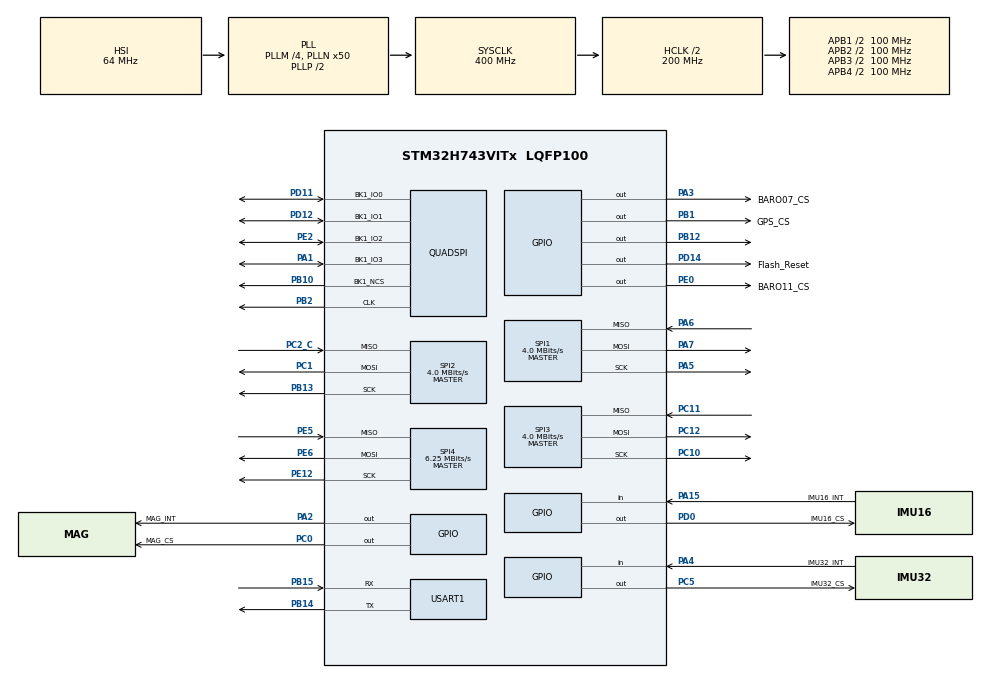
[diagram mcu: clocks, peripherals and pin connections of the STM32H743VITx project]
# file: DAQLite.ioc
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CORTEX_M7.CPU_ICache=Enabled
FREERTOS.Tasks01=defaultTask,0,192,StartDefaultTask,Default,NULL,Dynamic,NULL,NULL
FREERTOS.configMINIMAL_STACK_SIZE=192
FREERTOS.configTOTAL_HEAP_SIZE=340000
FREERTOS.configUSE_NEWLIB_REENTRANT=1
FREERTOS.configUSE_TIMERS=1
Mcu.Family=STM32H7
Mcu.Name=STM32H743VITx
Mcu.Package=LQFP100
NVIC.PriorityGroup=NVIC_PRIORITYGROUP_4
NVIC.TIM2_IRQn=true\:15\:0\:false\:false\:true\:false\:false\:true\:true
NVIC.TimeBase=TIM2_IRQn
NVIC.TimeBaseIP=TIM2
PA1.Mode=Single Bank 1
PA1.Signal=QUADSPI_BK1_IO3
PA11.Signal=USB_OTG_FS_DM
PA12.Signal=USB_OTG_FS_DP
PA13\ (JTMS/SWDIO).Mode=Trace_Asynchronous_SW
PA13\ (JTMS/SWDIO).Signal=DEBUG_JTMS-SWDIO
PA14\ (JTCK/SWCLK).Mode=Trace_Asynchronous_SW
PA14\ (JTCK/SWCLK).Signal=DEBUG_JTCK-SWCLK
PA15\ (JTDI).GPIO_Label=IMU16_INT
PA15\ (JTDI).Signal=GPIO_Input
PA2.GPIO_Label=MAG_INT
PA2.Signal=GPIO_Output
PA3.GPIO_Label=BARO07_CS
PA3.Signal=GPIO_Output
PA4.GPIO_Label=IMU32_INT
PA4.Signal=GPIO_Input
PA5.Mode=Full_Duplex_Master
PA5.Signal=SPI1_SCK
PA6.Mode=Full_Duplex_Master
PA6.Signal=SPI1_MISO
PA7.Mode=Full_Duplex_Master
PA7.Signal=SPI1_MOSI
PB1.GPIO_Label=GPS_CS
PB1.Signal=GPIO_Output
PB10.Mode=Single Bank 1
PB10.Signal=QUADSPI_BK1_NCS
PB12.Signal=GPIO_Output
PB13.Mode=Full_Duplex_Master
PB13.Signal=SPI2_SCK
PB14.Mode=Asynchronous
PB14.Signal=USART1_TX
PB15.Mode=Asynchronous
PB15.Signal=USART1_RX
PB2.Mode=Single Bank 1
PB2.Signal=QUADSPI_CLK
PB3\ (JTDO/TRACESWO).Mode=Trace_Asynchronous_SW
PB3\ (JTDO/TRACESWO).Signal=DEBUG_JTDO-SWO
PC0.GPIO_Label=MAG_CS
PC0.PinAttribute=Free
PC0.Signal=GPIO_Output
PC1.Mode=Full_Duplex_Master
PC1.PinAttribute=Free
PC1.Signal=SPI2_MOSI
PC10.Mode=Full_Duplex_Master
PC10.Signal=SPI3_SCK
PC11.Mode=Full_Duplex_Master
PC11.Signal=SPI3_MISO
PC12.Mode=Full_Duplex_Master
PC12.Signal=SPI3_MOSI
PC2_C.Mode=Full_Duplex_Master
PC2_C.Signal=SPI2_MISO
PC5.GPIO_Label=IMU32_CS
PC5.Signal=GPIO_Output
PC9.Signal=S_TIM3_CH4
PD0.GPIO_Label=IMU16_CS
PD0.Signal=GPIO_Output
PD11.Mode=Single Bank 1
PD11.Signal=QUADSPI_BK1_IO0
PD12.Mode=Single Bank 1
PD12.Signal=QUADSPI_BK1_IO1
PD14.GPIO_Label=Flash_Reset
PD14.PinState=GPIO_PIN_SET
PD14.Signal=GPIO_Output
PE0.GPIO_Label=BARO11_CS
PE0.Signal=GPIO_Output
PE12.Mode=Full_Duplex_Master
PE12.Signal=SPI4_SCK
PE14.Signal=S_TIM1_CH4
PE2.Mode=Single Bank 1
PE2.Signal=QUADSPI_BK1_IO2
PE5.Mode=Full_Duplex_Master
PE5.Signal=SPI4_MISO
PE6.Mode=Full_Duplex_Master
PE6.Signal=SPI4_MOSI
PH0-OSC_IN\ (PH0).Mode=HSE-External-Oscillator
PH0-OSC_IN\ (PH0).Signal=RCC_OSC_IN
PH1-OSC_OUT\ (PH1).Mode=HSE-External-Oscillator
PH1-OSC_OUT\ (PH1).PinAttribute=Free
PH1-OSC_OUT\ (PH1).Signal=RCC_OSC_OUT
ProjectManager.HeapSize=0x200
ProjectManager.StackSize=0x400
ProjectManager.TargetToolchain=STM32CubeIDE
QUADSPI.ChipSelectHighTime=QSPI_CS_HIGH_TIME_2_CYCLE
QUADSPI.ClockPrescaler=3
QUADSPI.FlashSize=25
QUADSPI.SampleShifting=QSPI_SAMPLE_SHIFTING_HALFCYCLE
RCC.ADCFreq_Value=129000000
RCC.APB1Freq_Value=100000000
RCC.APB2Freq_Value=100000000
RCC.APB3Freq_Value=100000000
RCC.APB4Freq_Value=100000000
RCC.CortexFreq_Value=400000000
RCC.D1PPRE=RCC_APB3_DIV2
RCC.D2PPRE1=RCC_APB1_DIV2
RCC.D2PPRE2=RCC_APB2_DIV2
RCC.D3PPRE=RCC_APB4_DIV2
RCC.DIVM1=4
RCC.DIVN1=50
RCC.DIVQ1=3
RCC.HCLKFreq_Value=200000000
RCC.HPRE=RCC_HCLK_DIV2
RCC.HSE_VALUE=32000000
RCC.PLL2FRACN=0
RCC.PLL3FRACN=0
RCC.PLLFRACN=0
RCC.QSPICLockSelection=RCC_QSPICLKSOURCE_CLKP
RCC.SPI123CLockSelection=RCC_SPI123CLKSOURCE_CLKP
RCC.SYSCLKFreq_VALUE=400000000
RCC.SYSCLKSource=RCC_SYSCLKSOURCE_PLLCLK
RCC.USBCLockSelection=RCC_USBCLKSOURCE_HSI48
RCC.USBFreq_Value=48000000
SH.S_TIM1_CH4.0=TIM1_CH4
SH.S_TIM3_CH4.0=TIM3_CH4
SPI1.BaudRatePrescaler=SPI_BAUDRATEPRESCALER_16
SPI1.CalculateBaudRate=4.0 MBits/s
SPI1.DataSize=SPI_DATASIZE_8BIT
SPI1.Direction=SPI_DIRECTION_2LINES
SPI1.Mode=SPI_MODE_MASTER
SPI1.VirtualType=VM_MASTER
SPI2.BaudRatePrescaler=SPI_BAUDRATEPRESCALER_16
SPI2.CalculateBaudRate=4.0 MBits/s
SPI2.DataSize=SPI_DATASIZE_8BIT
SPI2.Direction=SPI_DIRECTION_2LINES
SPI2.Mode=SPI_MODE_MASTER
SPI2.VirtualType=VM_MASTER
SPI3.BaudRatePrescaler=SPI_BAUDRATEPRESCALER_16
SPI3.CLKPhase=SPI_PHASE_1EDGE
SPI3.CLKPolarity=SPI_POLARITY_LOW
SPI3.CalculateBaudRate=4.0 MBits/s
SPI3.DataSize=SPI_DATASIZE_8BIT
SPI3.Direction=SPI_DIRECTION_2LINES
SPI3.Mode=SPI_MODE_MASTER
SPI3.NSSPMode=SPI_NSS_PULSE_ENABLE
SPI3.VirtualType=VM_MASTER
SPI4.BaudRatePrescaler=SPI_BAUDRATEPRESCALER_16
SPI4.CLKPhase=SPI_PHASE_1EDGE
SPI4.CLKPolarity=SPI_POLARITY_LOW
SPI4.CalculateBaudRate=6.25 MBits/s
SPI4.DataSize=SPI_DATASIZE_8BIT
SPI4.Direction=SPI_DIRECTION_2LINES
SPI4.Mode=SPI_MODE_MASTER
SPI4.VirtualType=VM_MASTER
USART1.VirtualMode-Asynchronous=VM_ASYNC
VP_CRC_VS_CRC.Mode=CRC_Activate
VP_FATFS_VS_Generic.Mode=User_defined
VP_FREERTOS_VS_CMSIS_V1.Mode=CMSIS_V1
VP_MEMORYMAP_VS_MEMORYMAP.Mode=CurAppReg
VP_SYS_VS_tim2.Mode=TIM2
VP_TIM3_VS_ClockSourceINT.Mode=Internal
board=custom

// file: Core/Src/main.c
/* USER CODE BEGIN Header */
/**
  ******************************************************************************
  * @file           : main.c
  * @brief          : Main program body
  ******************************************************************************
  * @attention
  *
  * Copyright (c) 2025 STMicroelectronics.
  * All rights reserved.
  *
  * This software is licensed under terms that can be found in the LICENSE file
  * in the root directory of this software component.
  * If no LICENSE file comes with this software, it is provided AS-IS.
  *
  ******************************************************************************
  */
/* USER CODE END Header */
#include "main.h"
#include "cmsis_os.h"
#include "fatfs.h"

/* USER CODE BEGIN Includes */
#include "RunInterface.hpp"
/* USER CODE END Includes */

CRC_HandleTypeDef hcrc;

QSPI_HandleTypeDef hqspi;

SPI_HandleTypeDef hspi1;
SPI_HandleTypeDef hspi2;
SPI_HandleTypeDef hspi3;
SPI_HandleTypeDef hspi4;

TIM_HandleTypeDef htim3;

UART_HandleTypeDef huart1;

osThreadId defaultTaskHandle;

void SystemClock_Config(void);
void PeriphCommonClock_Config(void);
static void MX_GPIO_Init(void);
static void MX_CRC_Init(void);
static void MX_SPI1_Init(void);
static void MX_SPI2_Init(void);
static void MX_SPI3_Init(void);
static void MX_SPI4_Init(void);
static void MX_QUADSPI_Init(void);
static void MX_USART1_UART_Init(void);
static void MX_TIM3_Init(void);
void StartDefaultTask(void const * argument);

int main(void)
{

  /* USER CODE BEGIN 1 */
	SCB-> VTOR = FLASH_BASE;
  /* USER CODE END 1 */

  /* Enable the CPU Cache */

  /* Enable I-Cache---------------------------------------------------------*/
  SCB_EnableICache();

  /* MCU Configuration--------------------------------------------------------*/

  /* Reset of all peripherals, Initializes the Flash interface and the Systick. */
  HAL_Init();

  /* Configure the system clock */
  SystemClock_Config();

  /* Configure the peripherals common clocks */
  PeriphCommonClock_Config();

  /* Initialize all configured peripherals */
  MX_GPIO_Init();
  MX_CRC_Init();
  MX_SPI1_Init();
  MX_SPI2_Init();
  MX_SPI3_Init();
  MX_SPI4_Init();
  MX_QUADSPI_Init();
  MX_FATFS_Init();
  MX_USART1_UART_Init();
  MX_TIM3_Init();
  /* USER CODE BEGIN 2 */
  __enable_irq();

  run_interface();
  #if 0
  /* USER CODE END 2 */

  /* Create the thread(s) */
  /* definition and creation of defaultTask */
  osThreadDef(defaultTask, StartDefaultTask, osPriorityNormal, 0, 192);
  defaultTaskHandle = osThreadCreate(osThread(defaultTask), NULL);

  /* Start scheduler */
  osKernelStart();

  /* We should never get here as control is now taken by the scheduler */

  /* Infinite loop */
  while (1)
  {

    /* USER CODE BEGIN 3 */
  }
  #endif
  /* USER CODE END 3 */
}

void SystemClock_Config(void)
{
  RCC_OscInitTypeDef RCC_OscInitStruct = {0};
  RCC_ClkInitTypeDef RCC_ClkInitStruct = {0};

  /** Supply configuration update enable
  */
  HAL_PWREx_ConfigSupply(PWR_LDO_SUPPLY);

  /** Configure the main internal regulator output voltage
  */
  __HAL_PWR_VOLTAGESCALING_CONFIG(PWR_REGULATOR_VOLTAGE_SCALE1);

  while(!__HAL_PWR_GET_FLAG(PWR_FLAG_VOSRDY)) {}

  /** Initializes the RCC Oscillators according to the specified parameters
  * in the RCC_OscInitTypeDef structure.
  */
  RCC_OscInitStruct.OscillatorType = RCC_OSCILLATORTYPE_HSI;
  RCC_OscInitStruct.HSIState = RCC_HSI_DIV1;
  RCC_OscInitStruct.HSICalibrationValue = RCC_HSICALIBRATION_DEFAULT;
  RCC_OscInitStruct.PLL.PLLState = RCC_PLL_ON;
  RCC_OscInitStruct.PLL.PLLSource = RCC_PLLSOURCE_HSI;
  RCC_OscInitStruct.PLL.PLLM = 4;
  RCC_OscInitStruct.PLL.PLLN = 50;
  RCC_OscInitStruct.PLL.PLLP = 2;
  RCC_OscInitStruct.PLL.PLLQ = 3;
  RCC_OscInitStruct.PLL.PLLR = 2;
  RCC_OscInitStruct.PLL.PLLRGE = RCC_PLL1VCIRANGE_3;
  RCC_OscInitStruct.PLL.PLLVCOSEL = RCC_PLL1VCOWIDE;
  RCC_OscInitStruct.PLL.PLLFRACN = 0;
  if (HAL_RCC_OscConfig(&RCC_OscInitStruct) != HAL_OK)
  {
    Error_Handler();
  }

  /** Initializes the CPU, AHB and APB buses clocks
  */
  RCC_ClkInitStruct.ClockType = RCC_CLOCKTYPE_HCLK|RCC_CLOCKTYPE_SYSCLK
                              |RCC_CLOCKTYPE_PCLK1|RCC_CLOCKTYPE_PCLK2
                              |RCC_CLOCKTYPE_D3PCLK1|RCC_CLOCKTYPE_D1PCLK1;
  RCC_ClkInitStruct.SYSCLKSource = RCC_SYSCLKSOURCE_PLLCLK;
  RCC_ClkInitStruct.SYSCLKDivider = RCC_SYSCLK_DIV1;
  RCC_ClkInitStruct.AHBCLKDivider = RCC_HCLK_DIV2;
  RCC_ClkInitStruct.APB3CLKDivider = RCC_APB3_DIV2;
  RCC_ClkInitStruct.APB1CLKDivider = RCC_APB1_DIV2;
  RCC_ClkInitStruct.APB2CLKDivider = RCC_APB2_DIV2;
  RCC_ClkInitStruct.APB4CLKDivider = RCC_APB4_DIV2;

  if (HAL_RCC_ClockConfig(&RCC_ClkInitStruct, FLASH_LATENCY_2) != HAL_OK)
  {
    Error_Handler();
  }
}

void PeriphCommonClock_Config(void)
{
  RCC_PeriphCLKInitTypeDef PeriphClkInitStruct = {0};

  /** Initializes the peripherals clock
  */
  PeriphClkInitStruct.PeriphClockSelection = RCC_PERIPHCLK_CKPER;
  PeriphClkInitStruct.CkperClockSelection = RCC_CLKPSOURCE_HSI;
  if (HAL_RCCEx_PeriphCLKConfig(&PeriphClkInitStruct) != HAL_OK)
  {
    Error_Handler();
  }
}

static void MX_CRC_Init(void)
{

  hcrc.Instance = CRC;
  hcrc.Init.DefaultPolynomialUse = DEFAULT_POLYNOMIAL_ENABLE;
  hcrc.Init.DefaultInitValueUse = DEFAULT_INIT_VALUE_ENABLE;
  hcrc.Init.InputDataInversionMode = CRC_INPUTDATA_INVERSION_NONE;
  hcrc.Init.OutputDataInversionMode = CRC_OUTPUTDATA_INVERSION_DISABLE;
  hcrc.InputDataFormat = CRC_INPUTDATA_FORMAT_BYTES;
  if (HAL_CRC_Init(&hcrc) != HAL_OK)
  {
    Error_Handler();
  }

}

static void MX_QUADSPI_Init(void)
{

  /* QUADSPI parameter configuration*/
  hqspi.Instance = QUADSPI;
  hqspi.Init.ClockPrescaler = 3;
  hqspi.Init.FifoThreshold = 1;
  hqspi.Init.SampleShifting = QSPI_SAMPLE_SHIFTING_HALFCYCLE;
  hqspi.Init.FlashSize = 25;
  hqspi.Init.ChipSelectHighTime = QSPI_CS_HIGH_TIME_2_CYCLE;
  hqspi.Init.ClockMode = QSPI_CLOCK_MODE_0;
  hqspi.Init.FlashID = QSPI_FLASH_ID_1;
  hqspi.Init.DualFlash = QSPI_DUALFLASH_DISABLE;
  if (HAL_QSPI_Init(&hqspi) != HAL_OK)
  {
    Error_Handler();
  }

}

static void MX_SPI1_Init(void)
{

  /* SPI1 parameter configuration*/
  hspi1.Instance = SPI1;
  hspi1.Init.Mode = SPI_MODE_MASTER;
  hspi1.Init.Direction = SPI_DIRECTION_2LINES;
  hspi1.Init.DataSize = SPI_DATASIZE_8BIT;
  hspi1.Init.CLKPolarity = SPI_POLARITY_LOW;
  hspi1.Init.CLKPhase = SPI_PHASE_1EDGE;
  hspi1.Init.NSS = SPI_NSS_SOFT;
  hspi1.Init.BaudRatePrescaler = SPI_BAUDRATEPRESCALER_16;
  hspi1.Init.FirstBit = SPI_FIRSTBIT_MSB;
  hspi1.Init.TIMode = SPI_TIMODE_DISABLE;
  hspi1.Init.CRCCalculation = SPI_CRCCALCULATION_DISABLE;
  hspi1.Init.CRCPolynomial = 0x0;
  hspi1.Init.NSSPMode = SPI_NSS_PULSE_ENABLE;
  hspi1.Init.NSSPolarity = SPI_NSS_POLARITY_LOW;
  hspi1.Init.FifoThreshold = SPI_FIFO_THRESHOLD_01DATA;
  hspi1.Init.TxCRCInitializationPattern = SPI_CRC_INITIALIZATION_ALL_ZERO_PATTERN;
  hspi1.Init.RxCRCInitializationPattern = SPI_CRC_INITIALIZATION_ALL_ZERO_PATTERN;
  hspi1.Init.MasterSSIdleness = SPI_MASTER_SS_IDLENESS_00CYCLE;
  hspi1.Init.MasterInterDataIdleness = SPI_MASTER_INTERDATA_IDLENESS_00CYCLE;
  hspi1.Init.MasterReceiverAutoSusp = SPI_MASTER_RX_AUTOSUSP_DISABLE;
  hspi1.Init.MasterKeepIOState = SPI_MASTER_KEEP_IO_STATE_DISABLE;
  hspi1.Init.IOSwap = SPI_IO_SWAP_DISABLE;
  if (HAL_SPI_Init(&hspi1) != HAL_OK)
  {
    Error_Handler();
  }

}

static void MX_SPI2_Init(void)
{

  /* SPI2 parameter configuration*/
  hspi2.Instance = SPI2;
  hspi2.Init.Mode = SPI_MODE_MASTER;
  hspi2.Init.Direction = SPI_DIRECTION_2LINES;
  hspi2.Init.DataSize = SPI_DATASIZE_8BIT;
  hspi2.Init.CLKPolarity = SPI_POLARITY_LOW;
  hspi2.Init.CLKPhase = SPI_PHASE_1EDGE;
  hspi2.Init.NSS = SPI_NSS_SOFT;
  hspi2.Init.BaudRatePrescaler = SPI_BAUDRATEPRESCALER_16;
  hspi2.Init.FirstBit = SPI_FIRSTBIT_MSB;
  hspi2.Init.TIMode = SPI_TIMODE_DISABLE;
  hspi2.Init.CRCCalculation = SPI_CRCCALCULATION_DISABLE;
  hspi2.Init.CRCPolynomial = 0x0;
  hspi2.Init.NSSPMode = SPI_NSS_PULSE_ENABLE;
  hspi2.Init.NSSPolarity = SPI_NSS_POLARITY_LOW;
  hspi2.Init.FifoThreshold = SPI_FIFO_THRESHOLD_01DATA;
  hspi2.Init.TxCRCInitializationPattern = SPI_CRC_INITIALIZATION_ALL_ZERO_PATTERN;
  hspi2.Init.RxCRCInitializationPattern = SPI_CRC_INITIALIZATION_ALL_ZERO_PATTERN;
  hspi2.Init.MasterSSIdleness = SPI_MASTER_SS_IDLENESS_00CYCLE;
  hspi2.Init.MasterInterDataIdleness = SPI_MASTER_INTERDATA_IDLENESS_00CYCLE;
  hspi2.Init.MasterReceiverAutoSusp = SPI_MASTER_RX_AUTOSUSP_DISABLE;
  hspi2.Init.MasterKeepIOState = SPI_MASTER_KEEP_IO_STATE_DISABLE;
  hspi2.Init.IOSwap = SPI_IO_SWAP_DISABLE;
  if (HAL_SPI_Init(&hspi2) != HAL_OK)
  {
    Error_Handler();
  }

}

static void MX_SPI3_Init(void)
{

  /* SPI3 parameter configuration*/
  hspi3.Instance = SPI3;
  hspi3.Init.Mode = SPI_MODE_MASTER;
  hspi3.Init.Direction = SPI_DIRECTION_2LINES;
  hspi3.Init.DataSize = SPI_DATASIZE_8BIT;
  hspi3.Init.CLKPolarity = SPI_POLARITY_LOW;
  hspi3.Init.CLKPhase = SPI_PHASE_1EDGE;
  hspi3.Init.NSS = SPI_NSS_SOFT;
  hspi3.Init.BaudRatePrescaler = SPI_BAUDRATEPRESCALER_16;
  hspi3.Init.FirstBit = SPI_FIRSTBIT_MSB;
  hspi3.Init.TIMode = SPI_TIMODE_DISABLE;
  hspi3.Init.CRCCalculation = SPI_CRCCALCULATION_DISABLE;
  hspi3.Init.CRCPolynomial = 0x0;
  hspi3.Init.NSSPMode = SPI_NSS_PULSE_ENABLE;
  hspi3.Init.NSSPolarity = SPI_NSS_POLARITY_LOW;
  hspi3.Init.FifoThreshold = SPI_FIFO_THRESHOLD_01DATA;
  hspi3.Init.TxCRCInitializationPattern = SPI_CRC_INITIALIZATION_ALL_ZERO_PATTERN;
  hspi3.Init.RxCRCInitializationPattern = SPI_CRC_INITIALIZATION_ALL_ZERO_PATTERN;
  hspi3.Init.MasterSSIdleness = SPI_MASTER_SS_IDLENESS_00CYCLE;
  hspi3.Init.MasterInterDataIdleness = SPI_MASTER_INTERDATA_IDLENESS_00CYCLE;
  hspi3.Init.MasterReceiverAutoSusp = SPI_MASTER_RX_AUTOSUSP_DISABLE;
  hspi3.Init.MasterKeepIOState = SPI_MASTER_KEEP_IO_STATE_DISABLE;
  hspi3.Init.IOSwap = SPI_IO_SWAP_DISABLE;
  if (HAL_SPI_Init(&hspi3) != HAL_OK)
  {
    Error_Handler();
  }

}

static void MX_SPI4_Init(void)
{

  /* SPI4 parameter configuration*/
  hspi4.Instance = SPI4;
  hspi4.Init.Mode = SPI_MODE_MASTER;
  hspi4.Init.Direction = SPI_DIRECTION_2LINES;
  hspi4.Init.DataSize = SPI_DATASIZE_8BIT;
  hspi4.Init.CLKPolarity = SPI_POLARITY_LOW;
  hspi4.Init.CLKPhase = SPI_PHASE_1EDGE;
  hspi4.Init.NSS = SPI_NSS_SOFT;
  hspi4.Init.BaudRatePrescaler = SPI_BAUDRATEPRESCALER_16;
  hspi4.Init.FirstBit = SPI_FIRSTBIT_MSB;
  hspi4.Init.TIMode = SPI_TIMODE_DISABLE;
  hspi4.Init.CRCCalculation = SPI_CRCCALCULATION_DISABLE;
  hspi4.Init.CRCPolynomial = 0x0;
  hspi4.Init.NSSPMode = SPI_NSS_PULSE_ENABLE;
  hspi4.Init.NSSPolarity = SPI_NSS_POLARITY_LOW;
  hspi4.Init.FifoThreshold = SPI_FIFO_THRESHOLD_01DATA;
  hspi4.Init.TxCRCInitializationPattern = SPI_CRC_INITIALIZATION_ALL_ZERO_PATTERN;
  hspi4.Init.RxCRCInitializationPattern = SPI_CRC_INITIALIZATION_ALL_ZERO_PATTERN;
  hspi4.Init.MasterSSIdleness = SPI_MASTER_SS_IDLENESS_00CYCLE;
  hspi4.Init.MasterInterDataIdleness = SPI_MASTER_INTERDATA_IDLENESS_00CYCLE;
  hspi4.Init.MasterReceiverAutoSusp = SPI_MASTER_RX_AUTOSUSP_DISABLE;
  hspi4.Init.MasterKeepIOState = SPI_MASTER_KEEP_IO_STATE_DISABLE;
  hspi4.Init.IOSwap = SPI_IO_SWAP_DISABLE;
  if (HAL_SPI_Init(&hspi4) != HAL_OK)
  {
    Error_Handler();
  }

}

static void MX_TIM3_Init(void)
{

  TIM_ClockConfigTypeDef sClockSourceConfig = {0};
  TIM_MasterConfigTypeDef sMasterConfig = {0};

  htim3.Instance = TIM3;
  htim3.Init.Prescaler = 0;
  htim3.Init.CounterMode = TIM_COUNTERMODE_UP;
  htim3.Init.Period = 65535;
  htim3.Init.ClockDivision = TIM_CLOCKDIVISION_DIV1;
  htim3.Init.AutoReloadPreload = TIM_AUTORELOAD_PRELOAD_DISABLE;
  if (HAL_TIM_Base_Init(&htim3) != HAL_OK)
  {
    Error_Handler();
  }
  sClockSourceConfig.ClockSource = TIM_CLOCKSOURCE_INTERNAL;
  if (HAL_TIM_ConfigClockSource(&htim3, &sClockSourceConfig) != HAL_OK)
  {
    Error_Handler();
  }
  sMasterConfig.MasterOutputTrigger = TIM_TRGO_RESET;
  sMasterConfig.MasterSlaveMode = TIM_MASTERSLAVEMODE_DISABLE;
  if (HAL_TIMEx_MasterConfigSynchronization(&htim3, &sMasterConfig) != HAL_OK)
  {
    Error_Handler();
  }

}

static void MX_USART1_UART_Init(void)
{

  huart1.Instance = USART1;
  huart1.Init.BaudRate = 115200;
  huart1.Init.WordLength = UART_WORDLENGTH_8B;
  huart1.Init.StopBits = UART_STOPBITS_1;
  huart1.Init.Parity = UART_PARITY_NONE;
  huart1.Init.Mode = UART_MODE_TX_RX;
  huart1.Init.HwFlowCtl = UART_HWCONTROL_NONE;
  huart1.Init.OverSampling = UART_OVERSAMPLING_16;
  huart1.Init.OneBitSampling = UART_ONE_BIT_SAMPLE_DISABLE;
  huart1.Init.ClockPrescaler = UART_PRESCALER_DIV1;
  huart1.AdvancedInit.AdvFeatureInit = UART_ADVFEATURE_NO_INIT;
  if (HAL_UART_Init(&huart1) != HAL_OK)
  {
    Error_Handler();
  }
  if (HAL_UARTEx_SetTxFifoThreshold(&huart1, UART_TXFIFO_THRESHOLD_1_8) != HAL_OK)
  {
    Error_Handler();
  }
  if (HAL_UARTEx_SetRxFifoThreshold(&huart1, UART_RXFIFO_THRESHOLD_1_8) != HAL_OK)
  {
    Error_Handler();
  }
  if (HAL_UARTEx_DisableFifoMode(&huart1) != HAL_OK)
  {
    Error_Handler();
  }

}

static void MX_GPIO_Init(void)
{
  GPIO_InitTypeDef GPIO_InitStruct = {0};

  /* GPIO Ports Clock Enable */
  __HAL_RCC_GPIOE_CLK_ENABLE();
  __HAL_RCC_GPIOH_CLK_ENABLE();
  __HAL_RCC_GPIOC_CLK_ENABLE();
  __HAL_RCC_GPIOA_CLK_ENABLE();
  __HAL_RCC_GPIOB_CLK_ENABLE();
  __HAL_RCC_GPIOD_CLK_ENABLE();

  /*Configure GPIO pin Output Level */
  HAL_GPIO_WritePin(GPIOC, MAG_CS_Pin|IMU32_CS_Pin, GPIO_PIN_RESET);

  /*Configure GPIO pin Output Level */
  HAL_GPIO_WritePin(GPIOA, MAG_INT_Pin|BARO07_CS_Pin, GPIO_PIN_RESET);

  /*Configure GPIO pin Output Level */
  HAL_GPIO_WritePin(GPIOB, GPS_CS_Pin|GPIO_PIN_12, GPIO_PIN_RESET);

  /*Configure GPIO pin Output Level */
  HAL_GPIO_WritePin(Flash_Reset_GPIO_Port, Flash_Reset_Pin, GPIO_PIN_SET);

  /*Configure GPIO pin Output Level */
  HAL_GPIO_WritePin(IMU16_CS_GPIO_Port, IMU16_CS_Pin, GPIO_PIN_RESET);

  /*Configure GPIO pin Output Level */
  HAL_GPIO_WritePin(BARO11_CS_GPIO_Port, BARO11_CS_Pin, GPIO_PIN_RESET);

  /*Configure GPIO pins : MAG_CS_Pin IMU32_CS_Pin */
  GPIO_InitStruct.Pin = MAG_CS_Pin|IMU32_CS_Pin;
  GPIO_InitStruct.Mode = GPIO_MODE_OUTPUT_PP;
  GPIO_InitStruct.Pull = GPIO_NOPULL;
  GPIO_InitStruct.Speed = GPIO_SPEED_FREQ_LOW;
  HAL_GPIO_Init(GPIOC, &GPIO_InitStruct);

  /*Configure GPIO pins : MAG_INT_Pin BARO07_CS_Pin */
  GPIO_InitStruct.Pin = MAG_INT_Pin|BARO07_CS_Pin;
  GPIO_InitStruct.Mode = GPIO_MODE_OUTPUT_PP;
  GPIO_InitStruct.Pull = GPIO_NOPULL;
  GPIO_InitStruct.Speed = GPIO_SPEED_FREQ_LOW;
  HAL_GPIO_Init(GPIOA, &GPIO_InitStruct);

  /*Configure GPIO pins : IMU32_INT_Pin IMU16_INT_Pin */
  GPIO_InitStruct.Pin = IMU32_INT_Pin|IMU16_INT_Pin;
  GPIO_InitStruct.Mode = GPIO_MODE_INPUT;
  GPIO_InitStruct.Pull = GPIO_NOPULL;
  HAL_GPIO_Init(GPIOA, &GPIO_InitStruct);

  /*Configure GPIO pins : GPS_CS_Pin PB12 */
  GPIO_InitStruct.Pin = GPS_CS_Pin|GPIO_PIN_12;
  GPIO_InitStruct.Mode = GPIO_MODE_OUTPUT_PP;
  GPIO_InitStruct.Pull = GPIO_NOPULL;
  GPIO_InitStruct.Speed = GPIO_SPEED_FREQ_LOW;
  HAL_GPIO_Init(GPIOB, &GPIO_InitStruct);

  /*Configure GPIO pin : PE14 */
  GPIO_InitStruct.Pin = GPIO_PIN_14;
  GPIO_InitStruct.Mode = GPIO_MODE_AF_PP;
  GPIO_InitStruct.Pull = GPIO_NOPULL;
  GPIO_InitStruct.Speed = GPIO_SPEED_FREQ_LOW;
  GPIO_InitStruct.Alternate = GPIO_AF1_TIM1;
  HAL_GPIO_Init(GPIOE, &GPIO_InitStruct);

  /*Configure GPIO pins : Flash_Reset_Pin IMU16_CS_Pin */
  GPIO_InitStruct.Pin = Flash_Reset_Pin|IMU16_CS_Pin;
  GPIO_InitStruct.Mode = GPIO_MODE_OUTPUT_PP;
  GPIO_InitStruct.Pull = GPIO_NOPULL;
  GPIO_InitStruct.Speed = GPIO_SPEED_FREQ_LOW;
  HAL_GPIO_Init(GPIOD, &GPIO_InitStruct);

  /*Configure GPIO pins : PA11 PA12 */
  GPIO_InitStruct.Pin = GPIO_PIN_11|GPIO_PIN_12;
  GPIO_InitStruct.Mode = GPIO_MODE_AF_PP;
  GPIO_InitStruct.Pull = GPIO_NOPULL;
  GPIO_InitStruct.Speed = GPIO_SPEED_FREQ_LOW;
  GPIO_InitStruct.Alternate = GPIO_AF10_OTG1_FS;
  HAL_GPIO_Init(GPIOA, &GPIO_InitStruct);

  /*Configure GPIO pin : BARO11_CS_Pin */
  GPIO_InitStruct.Pin = BARO11_CS_Pin;
  GPIO_InitStruct.Mode = GPIO_MODE_OUTPUT_PP;
  GPIO_InitStruct.Pull = GPIO_NOPULL;
  GPIO_InitStruct.Speed = GPIO_SPEED_FREQ_LOW;
  HAL_GPIO_Init(BARO11_CS_GPIO_Port, &GPIO_InitStruct);

  /* USER CODE BEGIN MX_GPIO_Init_2 */
  // Deselect every SPI device at boot (CubeMX defaults the CS pins low)
  HAL_GPIO_WritePin(GPIOC, MAG_CS_Pin|IMU32_CS_Pin, GPIO_PIN_SET);
  HAL_GPIO_WritePin(BARO07_CS_GPIO_Port, BARO07_CS_Pin, GPIO_PIN_SET);
  HAL_GPIO_WritePin(GPS_CS_GPIO_Port, GPS_CS_Pin, GPIO_PIN_SET);
  HAL_GPIO_WritePin(IMU16_CS_GPIO_Port, IMU16_CS_Pin, GPIO_PIN_SET);
  HAL_GPIO_WritePin(BARO11_CS_GPIO_Port, BARO11_CS_Pin, GPIO_PIN_SET);
  // Release the QSPI flash from hardware reset (RESET# is active low)
  HAL_GPIO_WritePin(Flash_Reset_GPIO_Port, Flash_Reset_Pin, GPIO_PIN_SET);
  /* USER CODE END MX_GPIO_Init_2 */
}

/* USER CODE BEGIN 4 */
void StartStatsTimer(void) {
    HAL_TIM_Base_Start(&htim3);
}

uint32_t GetStatsTimerCount(void) {
    return __HAL_TIM_GET_COUNTER(&htim3);
}
/* USER CODE END 4 */

void StartDefaultTask(void const * argument)
{
  for(;;)
  {
    osDelay(1);
  }
}

void HAL_TIM_PeriodElapsedCallback(TIM_HandleTypeDef *htim)
{
  if (htim->Instance == TIM2)
  {
    HAL_IncTick();
  }
}

void Error_Handler(void)
{
  __disable_irq();
  while (1)
  {
  }
}
